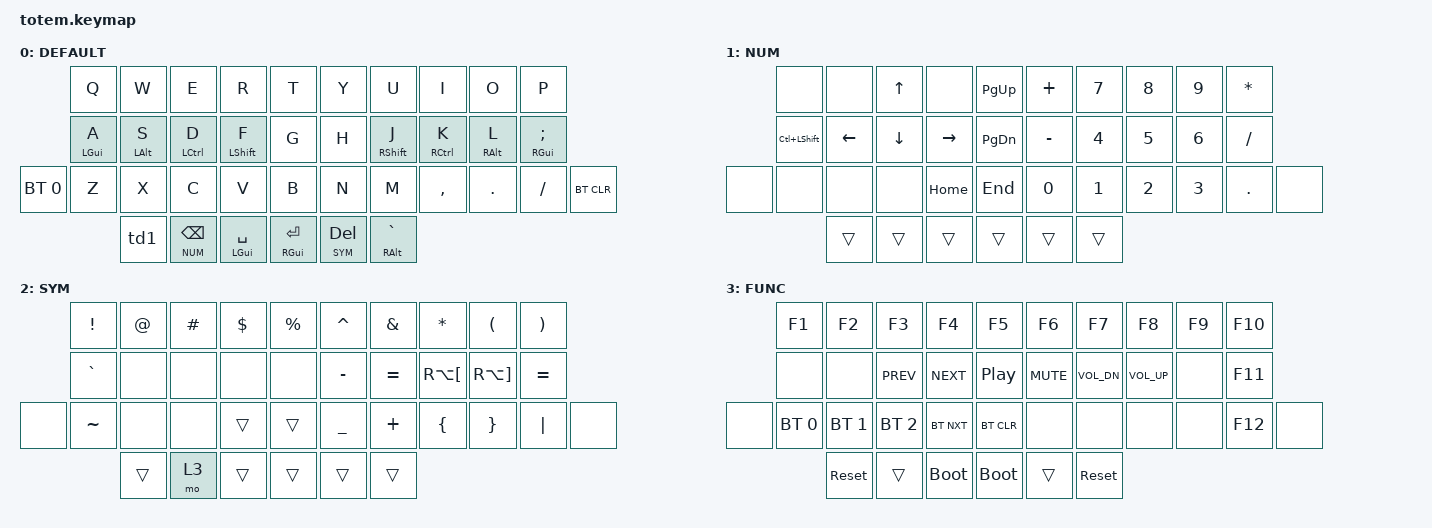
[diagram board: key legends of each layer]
//
//                                                        ▀▀▀▀▀     ▀▀▀▀▀          ▀▀█▀▀
//                                                        ▄▀▀▀▄  ▄  ▄▀▀▀▄  ▄  ▄▀▀▀▄  █  ▄▀▀▀▄
//                                                        █   █  █  █   █  █  █   █  █  █   █
//                                                         ▀▀▀   █   ▀▀▀   █   ▀▀▀   ▀   ▀▀▀
//                                                               █      ▄▄▄█▄▄▄    █   █
//                                                               ▀      █  █  █     █▄█
//                                                             ▀▀▀▀▀    █  █  █      ▀
//                                                                      ▀  ▀  ▀
//
// ▄▄▄▄▄▄▄▄▄▄▄▄▄▄▄▄▄▄▄▄▄▄▄▄▄▄▄▄▄▄▄▄▄▄▄▄▄▄▄▄▄▄▄▄▄▄▄▄▄▄▄▄▄▄▄▄▄▄▄▄▄▄▄▄▄▄▄▄▄▄▄▄▄▄▄▄▄▄▄▄▄▄▄▄▄▄▄▄▄▄▄▄▄▄▄▄▄▄▄▄▄▄▄▄▄▄▄▄▄▄▄▄▄▄▄▄▄▄▄▄▄▄▄▄▄▄▄▄▄▄▄▄▄▄▄▄▄▄▄▄▄▄▄▄▄▄▄▄▄

#include <behaviors.dtsi>
#include <dt-bindings/zmk/bt.h>
#include <dt-bindings/zmk/keys.h>

// LAYERS

#define DEFAULT 0
#define NUM     1
#define SYM     2
#define FUNC    3

// MACROS

#define SUPER LC(LSHIFT)
#define SUPER2 LA(LC(LSHIFT))

&mt {
    quick-tap-ms = <100>;
    global-quick-tap;
    flavor = "tap-preferred";
    tapping-term-ms = <170>;
};

/ {
    behaviors {
        hm: homerow_mods {
            compatible = "zmk,behavior-hold-tap";
            label = "HOMEROW_MODS";
            #binding-cells = <2>;
            tapping-term-ms = <200>;
            quick-tap-ms = <0>;
            flavor = "tap-preferred";
            bindings = <&kp>, <&kp>;
        };

        td0: tap_dance_0 {
            compatible = "zmk,behavior-tap-dance";
            label = "TAP_DANCE_0";
            #binding-cells = <0>;
            tapping-term-ms = <200>;
            bindings = <&hm RGUI SEMI>, <&kp SQT>;
        };

        td1: tap_dance_1 {
            compatible = "zmk,behavior-tap-dance";
            label = "TAP_DANCE_1";
            #binding-cells = <0>;
            tapping-term-ms = <200>;
            bindings = <&mt LCTRL TAB>, <&kp ESC>;
        };
    };

    combos {
        compatible = "zmk,combos";

        combo_cword {
            timeout-ms = <50>;
            key-positions = <16 19>;
            bindings = <&caps_word>;
        };

        combo_vimwq {
            timeout-ms = <50>;
            key-positions = <1 2>;
            bindings = <&vim_quit>;
        };
    };

    macros {
        vim_quit: vim_quit {
            label = "ZM_vim_quit";
            compatible = "zmk,behavior-macro";
            #binding-cells = <0>;
            bindings = <&macro_tap>, <&kp ESC &kp COLON &kp W &kp Q>;
        };
    };

    keymap {
        compatible = "zmk,keymap";

        // ▄▄▄▄▄▄▄▄▄▄▄▄▄▄▄▄▄▄▄▄▄▄▄▄▄▄▄▄▄▄▄▄▄▄▄▄▄▄▄▄▄▄▄▄▄▄▄▄▄▄▄▄▄▄▄▄▄▄▄▄▄▄▄▄▄▄▄▄▄▄▄▄▄▄▄▄▄▄▄▄▄▄▄▄▄▄▄▄▄▄▄▄▄▄▄▄▄▄▄▄▄▄▄▄▄▄▄▄▄▄▄▄▄▄▄▄▄▄▄▄▄▄▄▄▄▄▄▄▄▄▄▄▄▄▄▄▄▄▄▄▄▄▄▄▄▄▄▄▄

        default_layer {
            // ┏━━━━━━━━━━━━━━━━━━━━━━━━━━━━━━━━━━━━━━━┓

            label = "DEFAULT";

            // ┗━━━━━━━━━━━━━━━━━━━━━━━━━━━━━━━━━━━━━━━┛
            //             ┏━━━━━━━━━━━┳━━━━━━━━━━━┳━━━━━━━━━━━┳━━━━━━━━━━━┳━━━━━━━━━━━┓   ┏━━━━━━━━━━━┳━━━━━━━━━━━┳━━━━━━━━━━━┳━━━━━━━━━━━┳━━━━━━━━━━━┓
            //             ┃     Q     ┃     W     ┃     E     ┃     R     ┃     T     ┃   ┃     Y     ┃     U     ┃     I     ┃     O     ┃     P     ┃
            //             ┣━━━━━━━━━━━╋━━━━━━━━━━━╋━━━━━━━━━━━╋━━━━━━━━━━━╋━━━━━━━━━━━┫   ┣━━━━━━━━━━━╋━━━━━━━━━━━╋━━━━━━━━━━━╋━━━━━━━━━━━╋━━━━━━━━━━━┫
            //             ┃  LWIN|A   ┃  LALT|S   ┃ LSHIFT|D  ┃     F     ┃     G     ┃   ┃     H     ┃  RSHIFT|J ┃RCONTROL/K ┃  RALT/L   ┃     ;     ┃
            // ┏━━━━━━━━━━━╋━━━━━━━━━━━╋━━━━━━━━━━━╋━━━━━━━━━━━╋━━━━━━━━━━━╋━━━━━━━━━━━┫   ┣━━━━━━━━━━━╋━━━━━━━━━━━╋━━━━━━━━━━━╋━━━━━━━━━━━╋━━━━━━━━━━━╋━━━━━━━━━━━┓
            // ┃   BT_0    ┃     Z     ┃     X     ┃     C     ┃     V     ┃     B     ┃   ┃     N     ┃     M     ┃     ,     ┃     .     ┃     /     ┃  BT_CLR   ┃
            // ┗━━━━━━━━━━━┻━━━━━━━━━━━┻━━━━━━━━━━━┻━━━━━━━━━━━┻━━━━━━━━━━━┻━━━━━━━━━━━┛   ┗━━━━━━━━━━━┻━━━━━━━━━━━┻━━━━━━━━━━━┻━━━━━━━━━━━┻━━━━━━━━━━━┻━━━━━━━━━━━┛
            //                                   ┃LCTRL|TAB|ESC┃  NUM|BSPC ┃RWIN|ENTER ┃   ┃   ENTER   ┃SYM|DELETE ┃   RALT|`  ┃
            //                                   ┗━━━━━━━━━━━━━┻━━━━━━━━━━━┻━━━━━━━━━━━┛   ┗━━━━━━━━━━━┻━━━━━━━━━━━┻━━━━━━━━━━━┛

            bindings = <
                &kp Q       &kp W       &kp E        &kp R         &kp T             &kp Y         &kp U         &kp I           &kp O       &kp P
                &hm LGUI A  &hm LALT S  &hm LCTRL D  &hm LSHIFT F  &kp G             &kp H         &hm RSHIFT J  &hm RCTRL K     &hm RALT L  &hm RIGHT_GUI SEMI
&bt BT_SEL 0    &kp Z       &kp X       &kp C        &kp V         &kp B             &kp N         &kp M         &kp COMMA       &kp DOT     &kp FSLH            &bt BT_CLR
                               &td1         &lt NUM BSPC  &mt LGUI SPACE    &mt RGUI RET  &lt SYM DEL   &mt RALT GRAVE
            >;
        };

        // ▄▄▄▄▄▄▄▄▄▄▄▄▄▄▄▄▄▄▄▄▄▄▄▄▄▄▄▄▄▄▄▄▄▄▄▄▄▄▄▄▄▄▄▄▄▄▄▄▄▄▄▄▄▄▄▄▄▄▄▄▄▄▄▄▄▄▄▄▄▄▄▄▄▄▄▄▄▄▄▄▄▄▄▄▄▄▄▄▄▄▄▄▄▄▄▄▄▄▄▄▄▄▄▄▄▄▄▄▄▄▄▄▄▄▄▄▄▄▄▄▄▄▄▄▄▄▄▄▄▄▄▄▄▄▄▄▄▄▄▄▄▄▄▄▄▄▄▄▄

        num_layer {
            // ┏━━━━━━━━━━━━━━━━━━━━━━━━━━━━━━━━━━━━━━━┓

            label = "NUM";

            // ┗━━━━━━━━━━━━━━━━━━━━━━━━━━━━━━━━━━━━━━━┛
            //             ┏━━━━━━━━━━━┳━━━━━━━━━━━┳━━━━━━━━━━━┳━━━━━━━━━━━┳━━━━━━━━━━━┓   ┏━━━━━━━━━━━┳━━━━━━━━━━━┳━━━━━━━━━━━┳━━━━━━━━━━━┳━━━━━━━━━━━┓
            //             ┃           ┃           ┃     ↑     ┃           ┃   PGUP    ┃   ┃     +     ┃     7     ┃     8     ┃     9     ┃     *     ┃
            //             ┣━━━━━━━━━━━╋━━━━━━━━━━━╋━━━━━━━━━━━╋━━━━━━━━━━━╋━━━━━━━━━━━┫   ┣━━━━━━━━━━━╋━━━━━━━━━━━╋━━━━━━━━━━━╋━━━━━━━━━━━╋━━━━━━━━━━━┫
            //             ┃   SUPER   ┃   ←       ┃     ↓     ┃   →       ┃   PGDN    ┃   ┃     -     ┃     4     ┃     5     ┃     6     ┃     /     ┃
            // ┏━━━━━━━━━━━╋━━━━━━━━━━━╋━━━━━━━━━━━╋━━━━━━━━━━━╋━━━━━━━━━━━╋━━━━━━━━━━━┫   ┣━━━━━━━━━━━╋━━━━━━━━━━━╋━━━━━━━━━━━╋━━━━━━━━━━━╋━━━━━━━━━━━╋━━━━━━━━━━━┓
            // ┃           ┃ SUPER+CTL ┃           ┃           ┃   HOME    ┃    END    ┃   ┃     0     ┃     1     ┃     2     ┃     3     ┃     .     ┃           ┃
            // ┗━━━━━━━━━━━┻━━━━━━━━━━━┻━━━━━━━━━━━┻━━━━━━━━━━━┻━━━━━━━━━━━┻━━━━━━━━━━━┛   ┗━━━━━━━━━━━┻━━━━━━━━━━━┻━━━━━━━━━━━┻━━━━━━━━━━━┻━━━━━━━━━━━┻━━━━━━━━━━━┛
            //                                     ┃           ┃           ┃           ┃   ┃   FUNC    ┃           ┃           ┃
            //                                     ┗━━━━━━━━━━━┻━━━━━━━━━━━┻━━━━━━━━━━━┛   ┗━━━━━━━━━━━┻━━━━━━━━━━━┻━━━━━━━━━━━┛

            bindings = <
       &none           &none           &kp UP_ARROW  &none      &kp PG_UP    &kp PLUS      &kp N7        &kp N8  &kp N9  &kp ASTERISK
       &kp LC(LSHIFT)  &kp LEFT_ARROW  &kp DOWN      &kp RIGHT  &kp PG_DN    &kp MINUS     &kp N4        &kp N5  &kp N6  &kp SLASH
&none  &none           &none           &none         &kp HOME   &kp END      &kp NUMBER_0  &kp NUMBER_1  &kp N2  &kp N3  &kp DOT       &none
                                       &trans        &trans     &trans       &trans        &trans        &trans
            >;
        };

        // ▄▄▄▄▄▄▄▄▄▄▄▄▄▄▄▄▄▄▄▄▄▄▄▄▄▄▄▄▄▄▄▄▄▄▄▄▄▄▄▄▄▄▄▄▄▄▄▄▄▄▄▄▄▄▄▄▄▄▄▄▄▄▄▄▄▄▄▄▄▄▄▄▄▄▄▄▄▄▄▄▄▄▄▄▄▄▄▄▄▄▄▄▄▄▄▄▄▄▄▄▄▄▄▄▄▄▄▄▄▄▄▄▄▄▄▄▄▄▄▄▄▄▄▄▄▄▄▄▄▄▄▄▄▄▄▄▄▄▄▄▄▄▄▄▄▄▄▄▄

        sym_layer {
            // ┏━━━━━━━━━━━━━━━━━━━━━━━━━━━━━━━━━━━━━━━┓

            label = "SYM";

            // ┗━━━━━━━━━━━━━━━━━━━━━━━━━━━━━━━━━━━━━━━┛
            //             ┏━━━━━━━━━━━┳━━━━━━━━━━━┳━━━━━━━━━━━┳━━━━━━━━━━━┳━━━━━━━━━━━┓   ┏━━━━━━━━━━━┳━━━━━━━━━━━┳━━━━━━━━━━━┳━━━━━━━━━━━┳━━━━━━━━━━━┓
            //             ┃     !     ┃     @     ┃     #     ┃     $     ┃     %     ┃   ┃     ^     ┃     &     ┃     *     ┃     (     ┃     )     ┃
            //             ┣━━━━━━━━━━━╋━━━━━━━━━━━╋━━━━━━━━━━━╋━━━━━━━━━━━╋━━━━━━━━━━━┫   ┣━━━━━━━━━━━╋━━━━━━━━━━━╋━━━━━━━━━━━╋━━━━━━━━━━━╋━━━━━━━━━━━┫
            //             ┃     `     ┃           ┃           ┃           ┃           ┃   ┃     -     ┃     =     ┃     [     ┃     ]     ┃     \     ┃
            // ┏━━━━━━━━━━━╋━━━━━━━━━━━╋━━━━━━━━━━━╋━━━━━━━━━━━╋━━━━━━━━━━━╋━━━━━━━━━━━┫   ┣━━━━━━━━━━━╋━━━━━━━━━━━╋━━━━━━━━━━━╋━━━━━━━━━━━╋━━━━━━━━━━━╋━━━━━━━━━━━┓
            // ┃           ┃     ~     ┃           ┃           ┃           ┃           ┃   ┃     _     ┃     +     ┃     {     ┃     }     ┃     |     ┃           ┃
            // ┗━━━━━━━━━━━┻━━━━━━━━━━━┻━━━━━━━━━━━┻━━━━━━━━━━━┻━━━━━━━━━━━┻━━━━━━━━━━━┛   ┗━━━━━━━━━━━┻━━━━━━━━━━━┻━━━━━━━━━━━┻━━━━━━━━━━━┻━━━━━━━━━━━┻━━━━━━━━━━━┛
            //                                     ┃           ┃   FUNC    ┃           ┃   ┃           ┃           ┃           ┃
            //                                     ┗━━━━━━━━━━━┻━━━━━━━━━━━┻━━━━━━━━━━━┛   ┗━━━━━━━━━━━┻━━━━━━━━━━━┻━━━━━━━━━━━┛

            bindings = <
       &kp EXCL   &kp AT  &kp HASH  &kp DLLR  &kp PRCNT    &kp CARET  &kp AMPS   &kp ASTERISK          &kp LEFT_PARENTHESIS   &kp RIGHT_PARENTHESIS
       &kp GRAVE  &none   &none     &none     &none        &kp MINUS  &kp EQUAL  &kp RA(LEFT_BRACKET)  &kp RA(RIGHT_BRACKET)  &kp EQUAL
&none  &kp TILDE  &none   &none     &trans    &trans       &kp UNDER  &kp PLUS   &kp LEFT_BRACE        &kp RIGHT_BRACE        &kp PIPE               &none
                          &trans    &mo 3     &trans       &trans     &trans     &trans
            >;
        };

        // ▄▄▄▄▄▄▄▄▄▄▄▄▄▄▄▄▄▄▄▄▄▄▄▄▄▄▄▄▄▄▄▄▄▄▄▄▄▄▄▄▄▄▄▄▄▄▄▄▄▄▄▄▄▄▄▄▄▄▄▄▄▄▄▄▄▄▄▄▄▄▄▄▄▄▄▄▄▄▄▄▄▄▄▄▄▄▄▄▄▄▄▄▄▄▄▄▄▄▄▄▄▄▄▄▄▄▄▄▄▄▄▄▄▄▄▄▄▄▄▄▄▄▄▄▄▄▄▄▄▄▄▄▄▄▄▄▄▄▄▄▄▄▄▄▄▄▄▄▄

        func_layer {
            // ┏━━━━━━━━━━━━━━━━━━━━━━━━━━━━━━━━━━━━━━━┓

            label = "FUNC";

            // ┗━━━━━━━━━━━━━━━━━━━━━━━━━━━━━━━━━━━━━━━┛
            //             ┏━━━━━━━━━━━┳━━━━━━━━━━━┳━━━━━━━━━━━┳━━━━━━━━━━━┳━━━━━━━━━━━┓   ┏━━━━━━━━━━━┳━━━━━━━━━━━┳━━━━━━━━━━━┳━━━━━━━━━━━┳━━━━━━━━━━━┓
            //             ┃    F1     ┃    F2     ┃    F3     ┃    F4     ┃    F5     ┃   ┃    F6     ┃    F7     ┃    F8     ┃    F9     ┃   F10     ┃
            //             ┣━━━━━━━━━━━╋━━━━━━━━━━━╋━━━━━━━━━━━╋━━━━━━━━━━━╋━━━━━━━━━━━┫   ┣━━━━━━━━━━━╋━━━━━━━━━━━╋━━━━━━━━━━━╋━━━━━━━━━━━╋━━━━━━━━━━━┫
            //             ┃           ┃           ┃  C_PREV   ┃  C_NEXT   ┃  C_PLAY   ┃   ┃   MUTE    ┃    VOL-   ┃    VOL+   ┃           ┃   F11     ┃
            // ┏━━━━━━━━━━━╋━━━━━━━━━━━╋━━━━━━━━━━━╋━━━━━━━━━━━╋━━━━━━━━━━━╋━━━━━━━━━━━┫   ┣━━━━━━━━━━━╋━━━━━━━━━━━╋━━━━━━━━━━━╋━━━━━━━━━━━╋━━━━━━━━━━━╋━━━━━━━━━━━┓
            // ┃           ┃   BT_0    ┃   BT_1    ┃   BT_2    ┃  BT_NEXT  ┃  BT_CLR   ┃   ┃           ┃           ┃           ┃           ┃   F12     ┃           ┃
            // ┗━━━━━━━━━━━┻━━━━━━━━━━━┻━━━━━━━━━━━┻━━━━━━━━━━━┻━━━━━━━━━━━┻━━━━━━━━━━━┛   ┗━━━━━━━━━━━┻━━━━━━━━━━━┻━━━━━━━━━━━┻━━━━━━━━━━━┻━━━━━━━━━━━┻━━━━━━━━━━━┛
            //                                     ┃   RESET   ┃           ┃   BOOT    ┃   ┃    BOOT   ┃           ┃   RESET   ┃
            //                                     ┗━━━━━━━━━━━┻━━━━━━━━━━━┻━━━━━━━━━━━┛   ┗━━━━━━━━━━━┻━━━━━━━━━━━┻━━━━━━━━━━━┛

            bindings = <
       &kp F1        &kp F2        &kp F3        &kp F4      &kp F5              &kp F6       &kp F7        &kp F8        &kp F9  &kp F10
       &none         &none         &kp C_PREV    &kp C_NEXT  &kp C_PLAY_PAUSE    &kp C_MUTE   &kp C_VOL_DN  &kp C_VOL_UP  &none   &kp F11
&none  &bt BT_SEL 0  &bt BT_SEL 1  &bt BT_SEL 2  &bt BT_NXT  &bt BT_CLR          &none        &none         &none         &none   &kp F12  &none
                                   &sys_reset    &trans      &bootloader         &bootloader  &trans        &sys_reset
            >;
        };
    };
};
